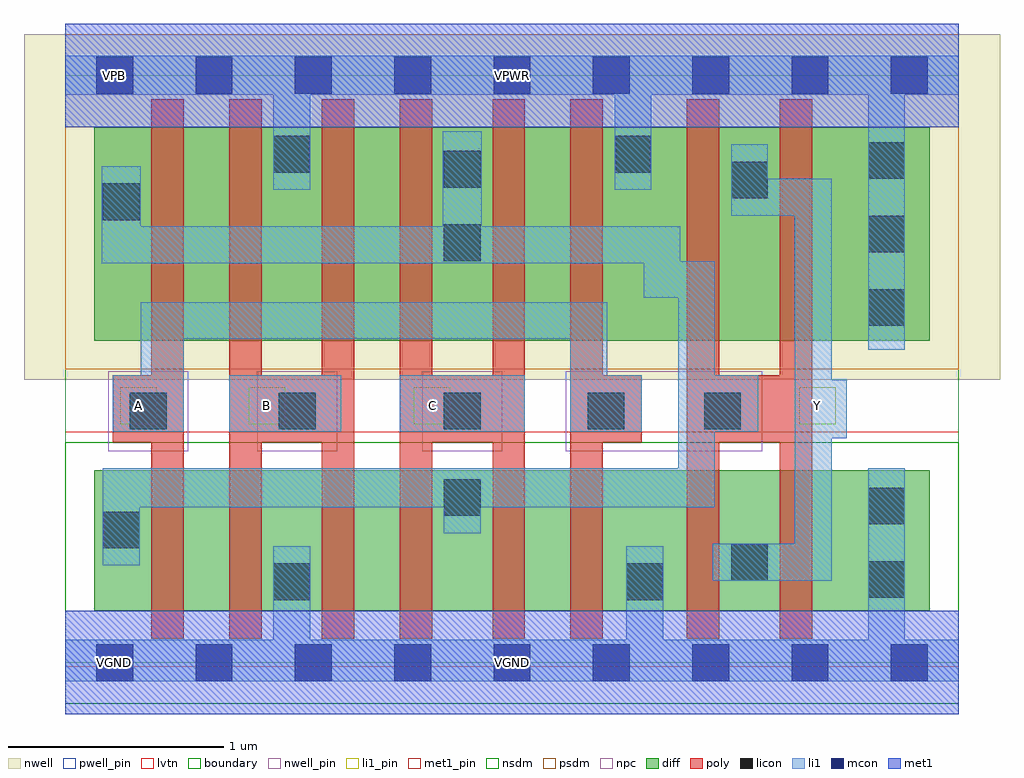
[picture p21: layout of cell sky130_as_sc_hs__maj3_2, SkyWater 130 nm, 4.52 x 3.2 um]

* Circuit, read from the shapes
.subckt sky130_as_sc_hs__maj3_2 A B C VGND VNB VPB VPWR Y
XM1 n1 A n2 VNB sky130_fd_pr__nfet_01v8_lvt w=0.65 l=0.15
XM2 VGND B n1 VNB sky130_fd_pr__nfet_01v8_lvt w=0.65 l=0.15
XM3 n3 B VGND VNB sky130_fd_pr__nfet_01v8_lvt w=0.65 l=0.15
XM4 n2 C n3 VNB sky130_fd_pr__nfet_01v8_lvt w=0.65 l=0.15
XM5 n4 C n2 VNB sky130_fd_pr__nfet_01v8_lvt w=0.65 l=0.15
XM6 VGND A n4 VNB sky130_fd_pr__nfet_01v8_lvt w=0.65 l=0.15
XM7 Y n2 VGND VNB sky130_fd_pr__nfet_01v8_lvt w=0.65 l=0.15 m=2
XM8 n5 A n2 VPB sky130_fd_pr__pfet_01v8 w=0.99 l=0.15
XM9 VPWR B n5 VPB sky130_fd_pr__pfet_01v8 w=0.99 l=0.15
XM10 n6 B VPWR VPB sky130_fd_pr__pfet_01v8 w=0.99 l=0.15
XM11 n2 C n6 VPB sky130_fd_pr__pfet_01v8 w=0.99 l=0.15
XM12 n7 C n2 VPB sky130_fd_pr__pfet_01v8 w=0.99 l=0.15
XM13 VPWR A n7 VPB sky130_fd_pr__pfet_01v8 w=0.99 l=0.15
XM14 Y n2 VPWR VPB sky130_fd_pr__pfet_01v8 w=0.99 l=0.15 m=2
.ends

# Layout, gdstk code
import gdstk
lib = gdstk.Library(unit=1e-6, precision=1e-09)
def R(c, l, rs):  # rectangles x0, y0, x1, y1
    for r in rs: c.add(gdstk.rectangle(r[:2], r[2:], *l))
def A(c, l, x, y, w, h, nx, ny, dx, dy):  # array of equal rectangles
    R(c, l, [(x+i*dx, y+j*dy, x+i*dx+w, y+j*dy+h) for i in range(nx) for j in range(ny)])
nwell_pin = (64, 16)
nwell = (64, 20)
diff = (65, 20)
poly = (66, 20)
licon = (66, 44)
li1_pin = (67, 16)
li1 = (67, 20)
mcon = (67, 44)
met1_pin = (68, 16)
met1 = (68, 20)
nsdm = (93, 44)
psdm = (94, 20)
npc = (95, 20)
pwell_pin = (122, 16)
lvtn = (125, 44)
boundary = (235, 4)

sky130_as_sc_hs__maj3_2 = lib.new_cell('sky130_as_sc_hs__maj3_2')
R(sky130_as_sc_hs__maj3_2, nwell_pin, [(0.145,2.635,0.315,2.805)])
R(sky130_as_sc_hs__maj3_2, nwell, [(-0.19,1.31,4.33,2.91)])
R(sky130_as_sc_hs__maj3_2, diff, [(0.135,0.24,4.005,0.89), (0.135,1.49,4.005,2.48)])
R(sky130_as_sc_hs__maj3_2, poly, [(0.4,0.11,0.55,1.02), (0.76,0.11,0.91,1.02), (1.19,0.11,1.34,1.02), (1.55,0.11,1.7,1.02), (1.98,0.11,2.13,1.02), (2.34,0.11,2.49,1.02), (2.88,0.11,3.03,1.02), (3.31,0.11,3.46,1.02), (0.22,1.02,0.55,1.33), (0.76,1.02,1.34,1.33), (1.55,1.02,2.13,1.33), (2.34,1.02,2.67,1.33), (2.88,1.02,3.46,1.33), (0.4,1.33,0.55,2.61), (0.76,1.33,0.91,2.61), (1.19,1.33,1.34,2.61), (1.55,1.33,1.7,2.61), (1.98,1.33,2.13,2.61), (2.34,1.33,2.49,2.61), (2.88,1.33,3.03,2.61), (3.31,1.33,3.46,2.61)])
A(sky130_as_sc_hs__maj3_2, licon, 3.72, 1.56, 0.17, 0.17, 1, 3, 0, 0.34)
R(sky130_as_sc_hs__maj3_2, licon, [(0.965,0.29,1.135,0.46), (2.6,0.29,2.77,0.46), (3.72,0.3,3.89,0.47), (3.085,0.38,3.255,0.55), (0.175,0.53,0.345,0.7), (3.72,0.64,3.89,0.81), (1.755,0.68,1.925,0.85), (0.3,1.08,0.47,1.25), (0.99,1.08,1.16,1.25), (1.755,1.08,1.925,1.25), (2.42,1.08,2.59,1.25), (2.96,1.08,3.13,1.25), (1.755,1.86,1.925,2.03), (0.175,2.05,0.345,2.22), (3.085,2.15,3.255,2.32), (1.755,2.2,1.925,2.37), (0.965,2.27,1.135,2.44), (2.545,2.27,2.715,2.44)])
R(sky130_as_sc_hs__maj3_2, li1_pin, [(0.255,1.105,0.425,1.275), (0.85,1.105,1.02,1.275), (1.615,1.105,1.785,1.275), (3.4,1.105,3.57,1.275)])
R(sky130_as_sc_hs__maj3_2, li1, [(0,-0.085,4.14,0.105), (0.965,0.105,1.135,0.54), (2.6,0.105,2.77,0.54), (3.72,0.105,3.89,0.9), (3,0.38,3.55,0.55), (0.175,0.45,0.345,0.72), (3.38,0.55,3.55,1.04), (1.755,0.6,1.925,0.72), (0.175,0.72,3.01,0.9), (2.84,0.9,3.01,1.07), (3.38,1.04,3.62,1.31), (0.22,1.07,0.55,1.33), (0.76,1.07,1.28,1.33), (1.55,1.07,2.13,1.33), (2.34,1.07,2.67,1.33), (2.84,1.07,3.21,1.33), (3.38,1.31,3.55,2.07), (0.35,1.33,0.55,1.5), (2.34,1.33,2.51,1.5), (2.84,1.33,3.01,1.69), (3.72,1.45,3.89,2.63), (0.35,1.5,2.51,1.67), (2.68,1.69,3.01,1.85), (0.17,1.85,3.01,1.86), (0.17,1.86,2.85,2.02), (0.17,2.02,0.35,2.3), (1.75,2.02,1.93,2.46), (3.085,2.07,3.55,2.24), (0.965,2.19,1.135,2.63), (2.545,2.19,2.715,2.63), (3.085,2.24,3.255,2.4), (0,2.63,4.14,2.81)])
A(sky130_as_sc_hs__maj3_2, mcon, 0.145, -0.085, 0.17, 0.17, 9, 2, 0.46, 2.72)
R(sky130_as_sc_hs__maj3_2, met1_pin, [(0,-0.24,4.14,0.24), (0.145,-0.085,0.315,0.085), (0,2.48,4.14,2.96), (0.145,2.635,0.315,2.805)])
R(sky130_as_sc_hs__maj3_2, met1, [(0,-0.24,4.14,0.24), (0,2.48,4.14,2.96)])
R(sky130_as_sc_hs__maj3_2, nsdm, [(0,-0.19,4.14,1.02)])
R(sky130_as_sc_hs__maj3_2, psdm, [(0,1.36,4.14,2.91)])
R(sky130_as_sc_hs__maj3_2, npc, [(0.2,0.98,0.57,1.35), (0.89,0.98,1.26,1.35), (1.655,0.98,2.025,1.35), (2.32,0.98,3.23,1.35)])
R(sky130_as_sc_hs__maj3_2, pwell_pin, [(0.145,-0.085,0.315,0.085)])
R(sky130_as_sc_hs__maj3_2, lvtn, [(0,-0.02,4.14,1.07)])
R(sky130_as_sc_hs__maj3_2, boundary, [(0,0,4.14,2.72)])
sky130_as_sc_hs__maj3_2.add(gdstk.Label('VPB', (0.23,2.72), layer=64, texttype=5))
sky130_as_sc_hs__maj3_2.add(gdstk.Label('VPB', (0.23,2.72), layer=64, texttype=5))
sky130_as_sc_hs__maj3_2.add(gdstk.Label('VGND', (0.23,0), layer=68, texttype=5))
sky130_as_sc_hs__maj3_2.add(gdstk.Label('VGND', (2.07,0), layer=68, texttype=5))
sky130_as_sc_hs__maj3_2.add(gdstk.Label('VPWR', (0.23,2.72), layer=68, texttype=5))
sky130_as_sc_hs__maj3_2.add(gdstk.Label('VPWR', (2.07,2.72), layer=68, texttype=5))
sky130_as_sc_hs__maj3_2.add(gdstk.Label('VNB', (0.23,0), layer=64, texttype=59))
sky130_as_sc_hs__maj3_2.add(gdstk.Label('VNB', (0.23,0), layer=64, texttype=59))
sky130_as_sc_hs__maj3_2.add(gdstk.Label('B', (0.935,1.19), layer=67, texttype=5))
sky130_as_sc_hs__maj3_2.add(gdstk.Label('B', (0.935,1.19), layer=67, texttype=5))
sky130_as_sc_hs__maj3_2.add(gdstk.Label('Y', (3.485,1.19), layer=67, texttype=5))
sky130_as_sc_hs__maj3_2.add(gdstk.Label('Y', (3.485,1.19), layer=67, texttype=5))
sky130_as_sc_hs__maj3_2.add(gdstk.Label('C', (1.7,1.19), layer=67, texttype=5))
sky130_as_sc_hs__maj3_2.add(gdstk.Label('C', (1.7,1.19), layer=67, texttype=5))
sky130_as_sc_hs__maj3_2.add(gdstk.Label('A', (0.34,1.19), layer=67, texttype=5))
sky130_as_sc_hs__maj3_2.add(gdstk.Label('A', (0.34,1.19), layer=67, texttype=5))

lib.write_gds('sky130_as_sc_hs__maj3_2.gds')
